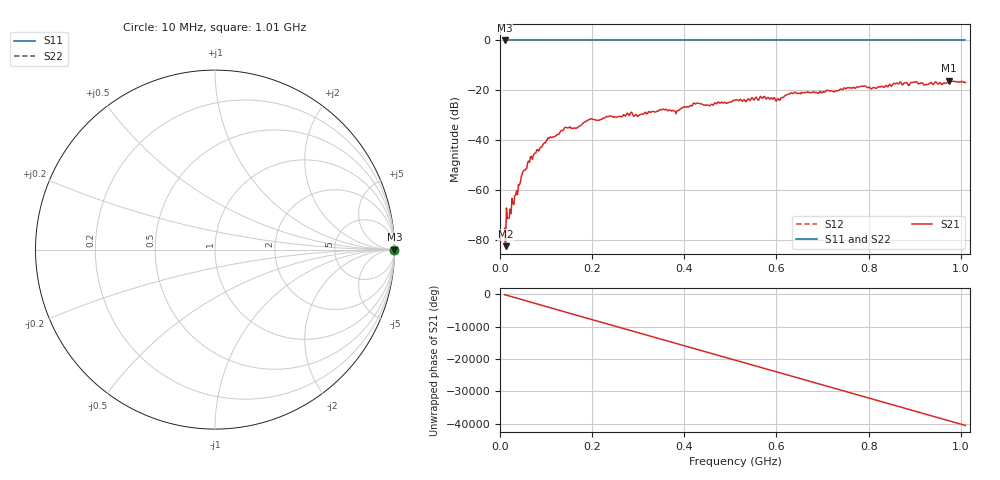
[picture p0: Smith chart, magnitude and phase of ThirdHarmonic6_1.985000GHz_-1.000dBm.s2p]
! 8/16/2025 11:52:03 PM
! C:\ANRITSUVNA\TEMP\TEMP.S2P
! CHANNEL.1
! TR.MEASUREMENT
! RAW.DATA
! RF.CORRECTION.OFF
! AVERAGING.OFF
! IF.BANDWIDTH: 5KHZ
! SWEEPTYPE:  FREQ.SWEEP(Linear)
! Reference Plane Port Info
! PORT:  PORT1  PORT2
! DISTANCE:  0  m  0  m
! TIME:  0  s  0  s
! PHASE.OFFSET:  0  deg.  0  deg.
! LOSS:  0  dB  0  dB
! REF.LOSS:  0  dB  0  dB
! REF.FREQ:  0  Hz  0  Hz
! Power Info
! POWER:  -20  dBm  -20  dBm
! EFF.POWER:  -20  dBm  -20  dBm
! SOURCE.ATTEN:  0  dB  0  dB
! TEST.ATTEN:  0  dB  0  dB
# GHZ S RI R 50.0
! FREQ.GHZ  S11RE  S11IM  S21RE  S21IM  S12RE  S12IM  S22RE  S22IM
!; PortSelection: Port_12
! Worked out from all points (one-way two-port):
!   501 points, 10 MHz to 1.01 GHz, reference 50 ohm
!   highest |S21| = -16.15 dB at 974 MHz (marker M1); lowest = -82.5 dB at 12 MHz (marker M2)
!   lowest |S11| = 0.0 dB at 10 MHz (marker M3)
!   |S11| at or under -10 dB: nowhere
!   |S22| runs from 0.0 to 0.0 dB; largest |S21 - S12| = 1.2
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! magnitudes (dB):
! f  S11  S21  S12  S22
! 10 MHz  0.0  -75.4  0.0  0.0
! 12 MHz  0.0  -82.5  0.0  0.0
! 50 MHz  0.0  -52.6  0.0  0.0
! 64 MHz  0.0  -48.9  0.0  0.0
! 106 MHz  0.0  -39.4  0.0  0.0
! 142 MHz  0.0  -34.8  0.0  0.0
! 164 MHz  0.0  -35.2  0.0  0.0
! 178 MHz  0.0  -33.5  0.0  0.0
! 196 MHz  0.0  -31.6  0.0  0.0
! 302 MHz  0.0  -30.0  0.0  0.0
! 344 MHz  0.0  -28.3  0.0  0.0
! 384 MHz  0.0  -28.3  0.0  0.0
! 424 MHz  0.0  -25.5  0.0  0.0
! 452 MHz  0.0  -26.0  0.0  0.0
! 510 MHz  0.0  -24.0  0.0  0.0
! 570 MHz  0.0  -23.2  0.0  0.0
! 602 MHz  0.0  -23.4  0.0  0.0
! 630 MHz  0.0  -21.2  0.0  0.0
! 678 MHz  0.0  -20.9  0.0  0.0
! 844 MHz  0.0  -17.9  0.0  0.0
! 974 MHz  0.0  -16.1  0.0  0.0
! 1.01 GHz  0.0  -16.9  0.0  0.0
